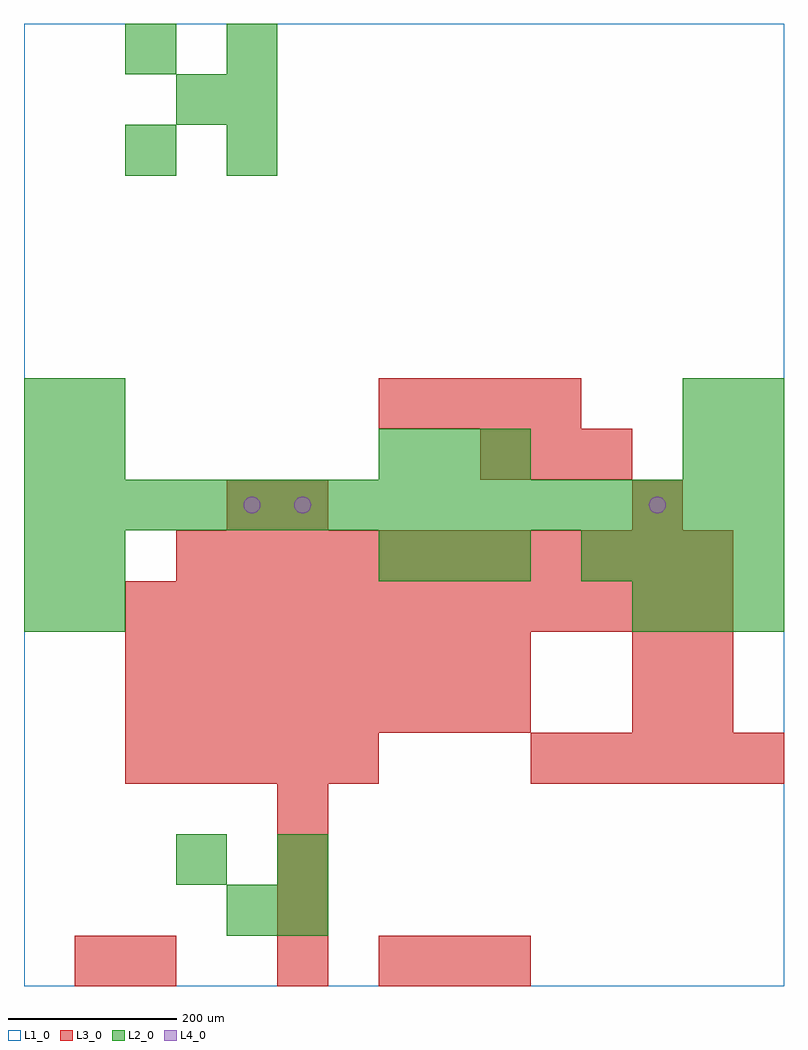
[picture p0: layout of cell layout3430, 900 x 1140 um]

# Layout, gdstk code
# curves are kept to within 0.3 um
import gdstk
lib = gdstk.Library(unit=1e-6, precision=1e-09)
def R(c, l, rs):  # rectangles x0, y0, x1, y1
    for r in rs: c.add(gdstk.rectangle(r[:2], r[2:], *l))
def A(c, l, x, y, w, h, nx, ny, dx, dy):  # array of equal rectangles
    R(c, l, [(x+i*dx, y+j*dy, x+i*dx+w, y+j*dy+h) for i in range(nx) for j in range(ny)])
def P(c, l, *ps):  # polygons
    for p in ps: c.add(gdstk.Polygon(p, *l))
L1_0 = (1, 0)
L2_0 = (2, 0)
L3_0 = (3, 0)
L4_0 = (4, 0)

layout3430 = lib.new_cell('layout3430')
R(layout3430, L1_0, [(0,0,900,1140)])
A(layout3430, L2_0, 720, 420, 60, 60, 3, 1, 60, 0)
A(layout3430, L2_0, 420, 480, 60, 60, 3, 2, 60, 120)
A(layout3430, L2_0, 660, 480, 60, 60, 4, 1, 60, 0)
A(layout3430, L2_0, 0, 540, 60, 60, 15, 1, 60, 0)
A(layout3430, L2_0, 240, 960, 60, 60, 1, 3, 0, 60)
R(layout3430, L2_0, [(240,60,300,120), (300,60,360,120), (180,120,240,180), (300,120,360,180), (0,420,60,480), (60,420,120,480), (0,480,60,540), (60,480,120,540), (0,600,60,660), (60,600,120,660), (780,600,840,660), (840,600,900,660), (0,660,60,720), (60,660,120,720), (780,660,840,720), (840,660,900,720), (120,960,180,1020), (180,1020,240,1080), (120,1080,180,1140)])
A(layout3430, L3_0, 300, 0, 60, 60, 1, 4, 0, 60)
A(layout3430, L3_0, 420, 0, 60, 60, 3, 1, 60, 0)
A(layout3430, L3_0, 120, 240, 60, 60, 5, 1, 60, 0)
A(layout3430, L3_0, 600, 240, 60, 60, 5, 1, 60, 0)
A(layout3430, L3_0, 120, 300, 60, 60, 8, 2, 60, 60)
A(layout3430, L3_0, 120, 420, 60, 60, 12, 1, 60, 0)
A(layout3430, L3_0, 180, 480, 60, 60, 11, 1, 60, 0)
A(layout3430, L3_0, 540, 600, 60, 60, 3, 1, 60, 0)
A(layout3430, L3_0, 420, 660, 60, 60, 4, 1, 60, 0)
R(layout3430, L3_0, [(60,0,120,60), (120,0,180,60), (720,300,780,360), (780,300,840,360), (720,360,780,420), (780,360,840,420), (240,540,300,600), (300,540,360,600), (720,540,780,600)])
P(layout3430, L4_0, [(280,570),(279.239,573.827),(277.071,577.071),(273.827,579.239),(270,580),(266.173,579.239),(262.929,577.071),(260.761,573.827),(260,570),(260.761,566.173),(262.929,562.929),(266.173,560.761),(270,560),(273.827,560.761),(277.071,562.929),(279.239,566.173)],
  [(340,570),(339.239,573.827),(337.071,577.071),(333.827,579.239),(330,580),(326.173,579.239),(322.929,577.071),(320.761,573.827),(320,570),(320.761,566.173),(322.929,562.929),(326.173,560.761),(330,560),(333.827,560.761),(337.071,562.929),(339.239,566.173)],
  [(760,570),(759.239,573.827),(757.071,577.071),(753.827,579.239),(750,580),(746.173,579.239),(742.929,577.071),(740.761,573.827),(740,570),(740.761,566.173),(742.929,562.929),(746.173,560.761),(750,560),(753.827,560.761),(757.071,562.929),(759.239,566.173)])

lib.write_gds('layout3430.gds')
